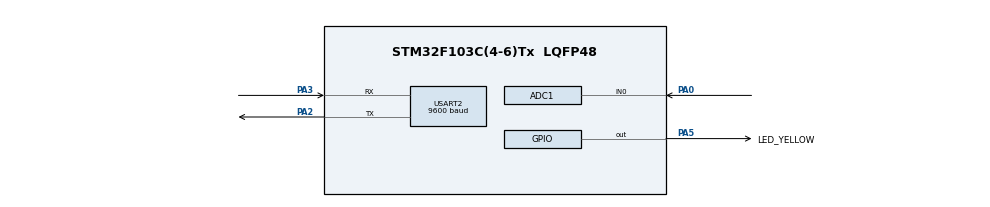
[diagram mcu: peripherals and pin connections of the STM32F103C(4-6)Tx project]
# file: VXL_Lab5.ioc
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ADC1.Channel-0\#ChannelRegularConversion=ADC_CHANNEL_0
ADC1.ContinuousConvMode=ENABLE
ADC1.NbrOfConversionFlag=1
ADC1.Rank-0\#ChannelRegularConversion=1
ADC1.SamplingTime-0\#ChannelRegularConversion=ADC_SAMPLETIME_1CYCLE_5
ADC1.master=1
Mcu.Family=STM32F1
Mcu.Name=STM32F103C(4-6)Tx
Mcu.Package=LQFP48
NVIC.ADC1_2_IRQn=true\:0\:0\:false\:false\:true\:true\:true
NVIC.PriorityGroup=NVIC_PRIORITYGROUP_4
NVIC.TIM2_IRQn=true\:0\:0\:false\:false\:true\:true\:true
NVIC.USART2_IRQn=true\:0\:0\:false\:false\:true\:true\:true
PA0-WKUP.Signal=ADCx_IN0
PA2.Mode=Asynchronous
PA2.Signal=USART2_TX
PA3.Mode=Asynchronous
PA3.Signal=USART2_RX
PA5.GPIO_Label=LED_YELLOW
PA5.Signal=GPIO_Output
PA6.Signal=S_TIM3_CH1
ProjectManager.HeapSize=0x200
ProjectManager.StackSize=0x400
ProjectManager.TargetToolchain=STM32CubeIDE
RCC.APB1Freq_Value=8000000
RCC.APB2Freq_Value=8000000
SH.ADCx_IN0.0=ADC1_IN0,IN0
SH.S_TIM3_CH1.0=TIM3_CH1
TIM2.Period=9
TIM2.Prescaler=7999
USART2.BaudRate=9600
USART2.VirtualMode=VM_ASYNC
VP_SYS_VS_ND.Mode=No_Debug
VP_TIM2_VS_ClockSourceINT.Mode=Internal
board=custom

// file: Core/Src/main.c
/* USER CODE BEGIN Header */
/**
  ******************************************************************************
  * @file           : main.c
  * @brief          : Main program body
  ******************************************************************************
  * @attention
  *
  * <h2><center>&copy; Copyright (c) 2024 STMicroelectronics.
  * All rights reserved.</center></h2>
  *
  * This software component is licensed by ST under BSD 3-Clause license,
  * the "License"; You may not use this file except in compliance with the
  * License. You may obtain a copy of the License at:
  *                        opensource.org/licenses/BSD-3-Clause
  *
  ******************************************************************************
  */
/* USER CODE END Header */
#include "main.h"

/* USER CODE BEGIN Includes */
#include "fsm_auto.h"
#include "software_timer.h"
#include <stdio.h>
/* USER CODE END Includes */

ADC_HandleTypeDef hadc1;

TIM_HandleTypeDef htim2;

UART_HandleTypeDef huart2;

void SystemClock_Config(void);
static void MX_GPIO_Init(void);
static void MX_ADC1_Init(void);
static void MX_USART2_UART_Init(void);
static void MX_TIM2_Init(void);

/* USER CODE BEGIN 0 */
uint8_t temp = 0;
void HAL_UART_RxCpltCallback ( UART_HandleTypeDef * huart ) {
	if( huart -> Instance == USART2 ) {
		HAL_UART_Transmit (& huart2,&temp,1,50) ;
		HAL_UART_Receive_IT (& huart2,&temp,1) ;
	}
}

/* USER CODE END 0 */

int main(void)
{

  /* MCU Configuration--------------------------------------------------------*/

  /* Reset of all peripherals, Initializes the Flash interface and the Systick. */
  HAL_Init();

  /* Configure the system clock */
  SystemClock_Config();

  /* Initialize all configured peripherals */
  MX_GPIO_Init();
  MX_ADC1_Init();
  MX_USART2_UART_Init();
  MX_TIM2_Init();
  /* USER CODE BEGIN 2 */
  HAL_UART_Receive_IT (& huart2 ,&temp, 1) ;
  /* USER CODE END 2 */

  /* Infinite loop */
  /* USER CODE BEGIN WHILE */

  while (1)
  {
	  ADC_Value = HAL_ADC_GetValue(&hadc1);
	  if(buffer_flag == 1){
		  command_parser_fsm();
		  buffer_flag = 0;
	  }
	  uart_communication_fsm();
    /* USER CODE END WHILE */

  }
}

void SystemClock_Config(void)
{
  RCC_OscInitTypeDef RCC_OscInitStruct = {0};
  RCC_ClkInitTypeDef RCC_ClkInitStruct = {0};
  RCC_PeriphCLKInitTypeDef PeriphClkInit = {0};

  /** Initializes the RCC Oscillators according to the specified parameters
  * in the RCC_OscInitTypeDef structure.
  */
  RCC_OscInitStruct.OscillatorType = RCC_OSCILLATORTYPE_HSI;
  RCC_OscInitStruct.HSIState = RCC_HSI_ON;
  RCC_OscInitStruct.HSICalibrationValue = RCC_HSICALIBRATION_DEFAULT;
  RCC_OscInitStruct.PLL.PLLState = RCC_PLL_NONE;
  if (HAL_RCC_OscConfig(&RCC_OscInitStruct) != HAL_OK)
  {
    Error_Handler();
  }
  /** Initializes the CPU, AHB and APB buses clocks
  */
  RCC_ClkInitStruct.ClockType = RCC_CLOCKTYPE_HCLK|RCC_CLOCKTYPE_SYSCLK
                              |RCC_CLOCKTYPE_PCLK1|RCC_CLOCKTYPE_PCLK2;
  RCC_ClkInitStruct.SYSCLKSource = RCC_SYSCLKSOURCE_HSI;
  RCC_ClkInitStruct.AHBCLKDivider = RCC_SYSCLK_DIV1;
  RCC_ClkInitStruct.APB1CLKDivider = RCC_HCLK_DIV1;
  RCC_ClkInitStruct.APB2CLKDivider = RCC_HCLK_DIV1;

  if (HAL_RCC_ClockConfig(&RCC_ClkInitStruct, FLASH_LATENCY_0) != HAL_OK)
  {
    Error_Handler();
  }
  PeriphClkInit.PeriphClockSelection = RCC_PERIPHCLK_ADC;
  PeriphClkInit.AdcClockSelection = RCC_ADCPCLK2_DIV2;
  if (HAL_RCCEx_PeriphCLKConfig(&PeriphClkInit) != HAL_OK)
  {
    Error_Handler();
  }
}

static void MX_ADC1_Init(void)
{

  ADC_ChannelConfTypeDef sConfig = {0};

  /** Common config
  */
  hadc1.Instance = ADC1;
  hadc1.Init.ScanConvMode = ADC_SCAN_DISABLE;
  hadc1.Init.ContinuousConvMode = ENABLE;
  hadc1.Init.DiscontinuousConvMode = DISABLE;
  hadc1.Init.ExternalTrigConv = ADC_SOFTWARE_START;
  hadc1.Init.DataAlign = ADC_DATAALIGN_RIGHT;
  hadc1.Init.NbrOfConversion = 1;
  if (HAL_ADC_Init(&hadc1) != HAL_OK)
  {
    Error_Handler();
  }
  /** Configure Regular Channel
  */
  sConfig.Channel = ADC_CHANNEL_0;
  sConfig.Rank = ADC_REGULAR_RANK_1;
  sConfig.SamplingTime = ADC_SAMPLETIME_1CYCLE_5;
  if (HAL_ADC_ConfigChannel(&hadc1, &sConfig) != HAL_OK)
  {
    Error_Handler();
  }

}

static void MX_TIM2_Init(void)
{

  TIM_ClockConfigTypeDef sClockSourceConfig = {0};
  TIM_MasterConfigTypeDef sMasterConfig = {0};

  htim2.Instance = TIM2;
  htim2.Init.Prescaler = 7999;
  htim2.Init.CounterMode = TIM_COUNTERMODE_UP;
  htim2.Init.Period = 9;
  htim2.Init.ClockDivision = TIM_CLOCKDIVISION_DIV1;
  htim2.Init.AutoReloadPreload = TIM_AUTORELOAD_PRELOAD_DISABLE;
  if (HAL_TIM_Base_Init(&htim2) != HAL_OK)
  {
    Error_Handler();
  }
  sClockSourceConfig.ClockSource = TIM_CLOCKSOURCE_INTERNAL;
  if (HAL_TIM_ConfigClockSource(&htim2, &sClockSourceConfig) != HAL_OK)
  {
    Error_Handler();
  }
  sMasterConfig.MasterOutputTrigger = TIM_TRGO_RESET;
  sMasterConfig.MasterSlaveMode = TIM_MASTERSLAVEMODE_DISABLE;
  if (HAL_TIMEx_MasterConfigSynchronization(&htim2, &sMasterConfig) != HAL_OK)
  {
    Error_Handler();
  }

}

static void MX_USART2_UART_Init(void)
{

  huart2.Instance = USART2;
  huart2.Init.BaudRate = 9600;
  huart2.Init.WordLength = UART_WORDLENGTH_8B;
  huart2.Init.StopBits = UART_STOPBITS_1;
  huart2.Init.Parity = UART_PARITY_NONE;
  huart2.Init.Mode = UART_MODE_TX_RX;
  huart2.Init.HwFlowCtl = UART_HWCONTROL_NONE;
  huart2.Init.OverSampling = UART_OVERSAMPLING_16;
  if (HAL_UART_Init(&huart2) != HAL_OK)
  {
    Error_Handler();
  }

}

static void MX_GPIO_Init(void)
{
  GPIO_InitTypeDef GPIO_InitStruct = {0};

  /* GPIO Ports Clock Enable */
  __HAL_RCC_GPIOA_CLK_ENABLE();

  /*Configure GPIO pin Output Level */
  HAL_GPIO_WritePin(LED_YELLOW_GPIO_Port, LED_YELLOW_Pin, GPIO_PIN_RESET);

  /*Configure GPIO pin : LED_YELLOW_Pin */
  GPIO_InitStruct.Pin = LED_YELLOW_Pin;
  GPIO_InitStruct.Mode = GPIO_MODE_OUTPUT_PP;
  GPIO_InitStruct.Pull = GPIO_NOPULL;
  GPIO_InitStruct.Speed = GPIO_SPEED_FREQ_LOW;
  HAL_GPIO_Init(LED_YELLOW_GPIO_Port, &GPIO_InitStruct);

  /*Configure GPIO pin : PA6 */
  GPIO_InitStruct.Pin = GPIO_PIN_6;
  GPIO_InitStruct.Mode = GPIO_MODE_AF_PP;
  GPIO_InitStruct.Speed = GPIO_SPEED_FREQ_LOW;
  HAL_GPIO_Init(GPIOA, &GPIO_InitStruct);

}

/* USER CODE BEGIN 4 */
void HAL_TIM_PeriodElapsedCallback(TIM_HandleTypeDef *htim) {
	timerRun();
}
/* USER CODE END 4 */

void Error_Handler(void)
{
  __disable_irq();
  while (1)
  {
  }
}

/************************ (C) COPYRIGHT STMicroelectronics *****END OF FILE****/
